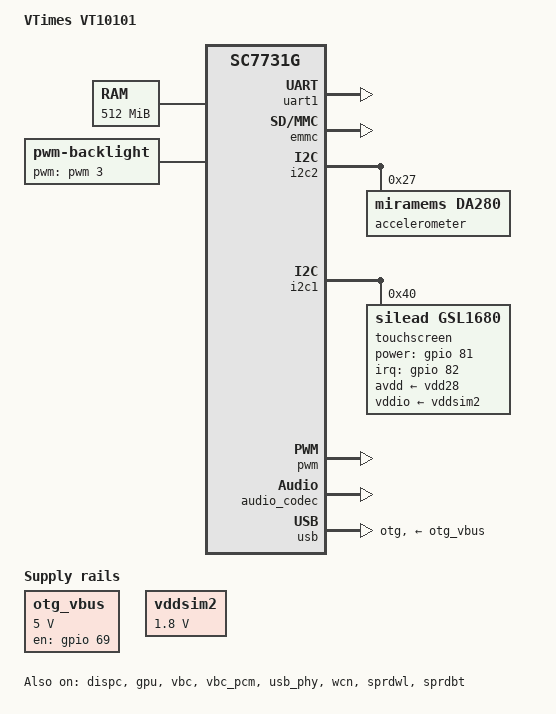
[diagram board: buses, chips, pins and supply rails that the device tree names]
// SPDX-License-Identifier: (GPL-2.0+ OR MIT)
/*
 * VTimes VT10101 photo frame: SC7731G on the "si006asb" reference board
 * (sp7731g_1h10), 2 GiB, 1280x800 MIPI-DSI panel (ID 0x936500) with gslX680
 * touch on i2c1, UART console on the GND/TX/RX pads on the back (uart1).
 */
/dts-v1/;

#include "sc7731g.dtsi"
#include <dt-bindings/gpio/gpio.h>
#include <dt-bindings/interrupt-controller/irq.h>

/ {
	model = "VTimes VT10101";
	compatible = "vtimes,vt10101", "sprd,sc7731g";

	aliases {
		serial1 = &uart1;
		i2c1 = &i2c1;
		i2c2 = &i2c2;
	};

	chosen {
		#address-cells = <1>;
		#size-cells = <1>;
		ranges;
		/* no stdout-path and no console= on uart1 since 2026-10-29:
		 * the pads are for an ESP32-C3 BLE controller (docs/ble-c3.md).
		 * Ways back to a serial console: a debug boot through
		 * tools/uboot-cmd.py passes its own console=ttyS1 (the vendor
		 * U-Boot still prints there), and kernel-trial.sh can boot an
		 * older image with this line once from recovery */
		/*
		 * The command line for boots through the vendor U-Boot's cboot
		 * (the boot partition, docs/install-plan.md): cboot
		 * ignores the boot image header's cmdline and appends its own
		 * arguments (lcd_id=..., mem_cs=...) to this property, as the
		 * Phase 1 trial showed (2026-10-27). uboot-boot.py's bootm boots
		 * pass their own bootargs and replace it. fbcon=rotate:1 makes
		 * the console upright in the landscape hold; frameboot, wdt and
		 * usbnet are initramfs switches (initramfs/init): frameboot
		 * (2026-10-27) boots the userland from the eMMC's A/B slots, and
		 * when it can't (or FRAMEBOOT/noframeboot exists) the boot falls
		 * through to wdt, usbnet and the debug shell as before.
		 * g_ether's MACs are fixed (locally administered) as the A33
		 * frames fix theirs (random ones made a Mac host a new enX every
		 * boot), but in :08: rather than the A33's :07:, so a host never
		 * mixes up the two frames' links.
		 *
		 * nohlt: a STOPGAP (2026-10-27). With the cores idling in WFI
		 * the eMMC controller stalls mid-command within seconds (no
		 * completion, no error, no interrupt; DMA or PIO alike); with
		 * nohlt it moved 300 MB read / 64 MB written + verified with no
		 * error. Some clock gate besides the AP_SYS_AUTO_SLEEP_CFG ones
		 * platsmp.c clears still cuts the controller when every core is
		 * idle. Costs idle power; goes once that gate is found.
		 */
		bootargs = "console=tty1 fbcon=rotate:1 panic=5 printk.devkmsg=on nohlt g_ether.dev_addr=02:fa:a3:00:08:02 g_ether.host_addr=02:fa:a3:00:08:01 frameboot wdt usbnet";

		/*
		 * Until there is a display driver: the vendor U-Boot lights the
		 * panel and leaves the display controller scanning its splash
		 * buffer out (layer 0 at 0x9fdfc000, 800x1280, 16 bpp, read back
		 * from DISPC at 0x20800040), so the kernel can draw into it.
		 */
		framebuffer@9fdfc000 {
			compatible = "simple-framebuffer";
			reg = <0x9fdfc000 0x1f4000>;
			width = <800>;
			height = <1280>;
			stride = <1600>;
			format = "r5g6b5";
		};
	};

	/*
	 * The vendor U-Boot rewrites this from what it sized (512 MiB on
	 * chip-select 0): the second 1 GiB of the 2 GiB, and the rest of the
	 * first, wait until we own the boot chain.
	 */
	memory@80000000 {
		device_type = "memory";
		reg = <0x80000000 0x20000000>;
	};

	/* PWM3 into the backlight controller, at the vendor's ~101.6 kHz
	 * (26 MHz / 256); its levels were 0-255 straight onto the duty */
	backlight: backlight {
		compatible = "pwm-backlight";
		pwms = <&pwm 3 9846>;
		brightness-levels = <0 255>;
		num-interpolated-steps = <255>;
		default-brightness-level = <200>;
	};

	/* VBUS for host mode: the vendor DT's usb node has boost-gpios = GPIO
	 * 69, the enable of a 5 V boost onto the micro-USB's VBUS (its
	 * dwc_otg driver raises it in charge_pump_set() when an OTG cable's ID
	 * goes low, and drops it on unplug). dwc2 enables a vbus-supply only
	 * while it is host, so in gadget mode this stays off as before. The
	 * frame runs off its barrel jack; whether the boost is fitted on this
	 * board is what the first host-mode boot says */
	otg_vbus: regulator-otg-vbus {
		compatible = "regulator-fixed";
		regulator-name = "otg-vbus";
		regulator-min-microvolt = <5000000>;
		regulator-max-microvolt = <5000000>;
		gpio = <&gpio 69 GPIO_ACTIVE_HIGH>;
		enable-active-high;
	};

	reserved-memory {
		#address-cells = <1>;
		#size-cells = <1>;
		ranges;

		/* the vendor's own /memreserve/s: modem (CP0) and WCN (CP2)
		 * shared memory; nothing runs there when we boot from the
		 * U-Boot prompt, but they stay out of the way until we know */
		cp_shm: cp-shm@87800000 {
			reg = <0x87800000 0x200000>;
			no-map;
		};

		cp0@88000000 {
			reg = <0x88000000 0x1b00000>;
			no-map;
		};

		cp2_mem: cp2@8a800000 {
			reg = <0x8a800000 0x201000>;
			no-map;
		};

		/* the last kernel log across a crash and reboot (pstore/ramoops;
		 * the userland's frame-diag copies the records to FRAMEBOOT/diag):
		 * the WCN driver brought the frame down hard during a scan
		 * with nothing left to read (2026-10-29). Inside the first
		 * 512 MiB, the DT's own memory node, just under the splash
		 * buffer. Strong ECC as on the A33 frame, whose DRAM loses bits
		 * across the reset (that frame's kernel dts); whether this
		 * one's does is still to be seen */
		ramoops@9fc00000 {
			compatible = "ramoops";
			reg = <0x9fc00000 0x100000>;
			record-size = <0x20000>;
			console-size = <0x40000>;
			pmsg-size = <0x20000>;
			ecc-size = <64>;
		};

		splash@9fdfc000 {
			reg = <0x9fdfc000 0x1f4000>;
			no-map;
		};
	};
};

&uart1 {
	status = "okay";
};

/* read-only use so far: the partition table and mounts happen by hand from
 * the initramfs shell */
&emmc {
	status = "okay";
};

/* takes over from simpledrm once probed; 10.1" 16:10, portrait-native */
&dispc {
	width-mm = <136>;
	height-mm = <217>;
	status = "okay";
};

&gpu {
	status = "okay";
};

/*
 * The gslX680 touch controller (Silead GSL1680 family). The vendor DT gives
 * it two GPIOs, 81 then 82, which its driver takes as reset then interrupt.
 * Its firmware is loaded at every power-up: mainline's silead driver reads
 * silead/gsl1680.fw, extracted from the Android kernel by
 * tools/extract-gsl-fw.py. Its 1024x600 TP_MAX in the vendor DT is a leftover
 * from another panel; the size here is the glass's, to be checked with evtest.
 * vdd28 (its supply, a PMIC LDO) was left as U-Boot left it until there
 * were regulators; out-3 got -ENXIO at 0x40, as if it were off (or the chip
 * held in reset). regulator-sc2713s.c now switches it on.
 */
/* the sensor bus: Android binds a da213 accelerometer at 0x26 here. Enabled
 * with no children so far, only so the probe can check our I2C driver
 * against a chip known to answer (initramfs/i2cxfer.c) */
&i2c2 {
	status = "okay";

	/*
	 * The accelerometer frame-shell turns the screen by (its Accel class
	 * reads an IIO device named "da280"). Android's DT lists six
	 * alternative sensors on this bus, a reference board's options; the
	 * one fitted is MiraMEMS's ("mir3da_acc", compatible da,da213, reg
	 * 0x26), but it answers at 0x27 -- the vendor's mir3da driver tries
	 * both -- with chip ID 0x13 at register 0x01, which is what mainline's
	 * da280 driver checks for. It has no OF table, so the I2C core binds
	 * it by name. Its axes are this board's, not the A33's: the userland's
	 * accelerometer signs are per board (2026-10-28).
	 */
	accelerometer@27 {
		compatible = "miramems,da280";
		reg = <0x27>;
	};
};

&i2c1 {
	status = "okay";

	touchscreen@40 {
		compatible = "silead,gsl1680";
		reg = <0x40>;
		interrupt-parent = <&gpio>;
		interrupts = <82 IRQ_TYPE_EDGE_FALLING>;
		power-gpios = <&gpio 81 GPIO_ACTIVE_HIGH>;
		/* the vendor DT's vdd_name; out-3 got -ENXIO from the chip
		 * with nothing switching this on */
		avdd-supply = <&vdd28>;
		/* its reset and interrupt pads' I/O rail, see &vddsim2 */
		vddio-supply = <&vddsim2>;
		firmware-name = "gsl1680.fw";	/* the driver prepends silead/ */
		/* The firmware reports in its own landscape frame: X along the
		 * long side left to right, Y along the short side from the
		 * bottom up, ~1024 x 640 (our corner taps, 2026-10-27,
		 * spanned 91..934 and 60..616; 1024 x 640 is the glass's 1.6
		 * aspect). That is already the frame as it hangs, so only Y
		 * flips.
		 *
		 * The first mapping swapped X and Y into the panel's native
		 * portrait scan, on the idea that the compositor rotates touch
		 * with the output. It doesn't: wlroots maps a touchscreen's
		 * range linearly onto the output's transformed (landscape)
		 * box, so touch must come in already landscape. frame-shell's
		 * calibration page showed it -- a touch on cross 1 (top left)
		 * landed on cross 2 (top right), as the swap predicts: raw
		 * (91,539) became x 539 of 640 -> 1078 of 1280.
		 *
		 * The range is fitted, not the nominal 1024 x 640: with that,
		 * our taps on the calibration crosses (frame-shell's
		 * log, via frame-diag's 180s report, 2026-10-27) landed ~20-25
		 * px toward the middle of the screen at every corner. A straight
		 * line through 20 taps on 5 crosses puts the glass edges at raw
		 * X 22..1004 and raw Y 6..614, residuals within ~8 px except
		 * stray taps. Linux inverts Y as max - y, so Y can't carry a
		 * minimum as well: max 614 makes the top exact and leaves the
		 * bottom edge ~8 px short. */
		touchscreen-min-x = <22>;
		touchscreen-size-x = <1005>;	/* max = size - 1 */
		touchscreen-size-y = <615>;
		touchscreen-inverted-y;
		silead,max-fingers = <10>;
	};
};

&pwm {
	status = "okay";
};

/*
 * Sound: one speaker, on SPK-R, behind an external amplifier that GPIO 85
 * enables (active high) and that the codec's HPR output feeds -- not the
 * codec's own speaker driver, whose SPK-L has nothing on it. Found by hand
 * with someone listening (docs/audio.md, 2026-10-28); the vendor DT's
 * spk_pa_en_gpios = <85> says the same.
 */
&pmic {
	audio_codec: audio-codec {
		compatible = "sprd,sc2713s-codec";
		sprd,reg-dp = <0x40000000 0x1000>;
		sprd,syscon-aon = <&aon_apb>;
		clocks = <&clk_aud>;
		pa-gpios = <&gpio 85 GPIO_ACTIVE_HIGH>;
		#sound-dai-cells = <0>;
	};
};

&vbc {
	status = "okay";
};

&vbc_pcm {
	status = "okay";
};

/ {
	sound {
		compatible = "simple-audio-card";
		simple-audio-card,name = "VT10101";

		simple-audio-card,dai-link {
			cpu {
				sound-dai = <&vbc>;
			};
			codec {
				sound-dai = <&audio_codec>;
			};
			plat {
				sound-dai = <&vbc_pcm>;
			};
		};
	};
};

/* always on: the touch driver turns its supply off in suspend, and we don't
 * know what else on this board hangs off vdd28 */
&vdd28 {
	regulator-always-on;
};

/* always on as well: the touch driver drops vddio in suspend, and the other
 * SIM2 pads' users are unknown */
&vddsim2 {
	regulator-always-on;
	regulator-min-microvolt = <1800000>;
	regulator-max-microvolt = <1800000>;
};

/*
 * USB as a gadget by default: a network link (CDC ECM) to whatever the
 * micro-USB port is plugged into, the debug link. Host mode, for a Wi-Fi
 * dongle (the SoC's own WCN has no mainline driver, docs/wifi.md), is a
 * runtime switch, see &usb. The vendor sensed VBUS on a GPIO; instead dwc2's role switch is
 * pinned to peripheral, which overrides the B-session-valid signal.
 */
&usb_phy {
	sprd,tune = <0x44073e33>;
	/* out-3: dwc2's core soft reset timed out with no supply here */
	vdd-supply = <&vddusb>;
	status = "okay";
};

&usb {
	dr_mode = "otg";
	usb-role-switch;
	/* still the default; `usbhost` on the command line has the initramfs
	 * switch the role to host at runtime (/sys/class/usb_role), which
	 * forces dwc2 into host mode and turns on vbus-supply. No DT variant:
	 * one image does both, and a reboot is the way back to the debug link */
	role-switch-default-mode = "peripheral";
	vbus-supply = <&otg_vbus>;
	/* out-4: with vddusb on, the core enumerated (high speed, address 8)
	 * and then g_ether's endpoints found no FIFO -- dwc2's defaults (RX
	 * 2048, non-periodic TX 1024) don't fit this core's 3598-entry SPRAM.
	 * These do: 512 + 256 + 4 x 256 + 11 x 128 = 3200 */
	g-rx-fifo-size = <512>;
	g-np-tx-fifo-size = <256>;
	g-tx-fifo-size = <256 256 256 256 128 128 128 128 128 128 128 128 128 128 128>;
	status = "okay";
};

&wcn {
	status = "okay";
	firmware-name = "sprd/wcnmodem.bin";
};

&sprdwl {
	status = "okay";
	nvm-firmware-name = "sprd/wifi-nvm.bin";
};

&sprdbt {
	status = "okay";
};
